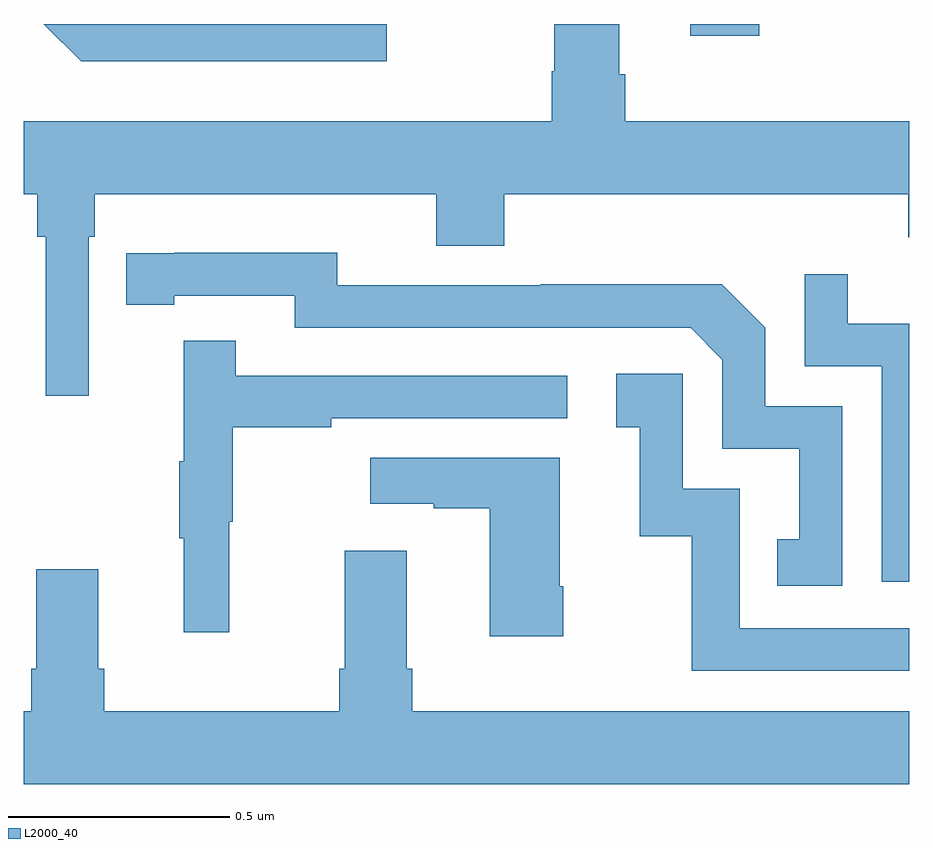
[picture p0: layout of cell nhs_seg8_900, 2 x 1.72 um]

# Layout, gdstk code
import gdstk
lib = gdstk.Library(unit=1e-6, precision=1e-09)
def R(c, l, rs):  # rectangles x0, y0, x1, y1
    for r in rs: c.add(gdstk.rectangle(r[:2], r[2:], *l))
def P(c, l, *ps):  # polygons
    for p in ps: c.add(gdstk.Polygon(p, *l))
L2000_40 = (2000, 40)

nhs_seg8_900 = lib.new_cell('nhs_seg8_900')
R(nhs_seg8_900, L2000_40, [(124.505,1100.874,124.661,1100.9)])
P(nhs_seg8_900, L2000_40, [(123,1100.516),(123.031,1100.516),(123.031,1100.42),(123.05,1100.42),(123.05,1100.061),(123.147,1100.061),(123.147,1100.42),(123.161,1100.42),(123.161,1100.516),(123.932,1100.516),(123.932,1100.399),(124.085,1100.399),(124.085,1100.516),(124.997,1100.516),(124.997,1100.418),(125,1100.418),(125,1100.68),(124.358,1100.68),(124.358,1100.786),(124.345,1100.786),(124.345,1100.9),(124.198,1100.9),(124.198,1100.793),(124.193,1100.793),(124.193,1100.68),(123,1100.68)],
  [(123.82,1100.9),(123.046,1100.9),(123.13,1100.816),(123.82,1100.816)],
  [(124.848,1100.037),(124.674,1100.037),(124.674,1100.214),(124.576,1100.312),(124.168,1100.312),(124.168,1100.31),(123.708,1100.31),(123.708,1100.383),(123.34,1100.383),(123.34,1100.382),(123.232,1100.382),(123.232,1100.266),(123.34,1100.266),(123.34,1100.286),(123.612,1100.286),(123.612,1100.214),(124.506,1100.214),(124.578,1100.142),(124.578,1099.941),(124.751,1099.941),(124.751,1099.737),(124.702,1099.737),(124.702,1099.632),(124.848,1099.632)],
  [(125,1100.223),(124.861,1100.223),(124.861,1100.335),(124.764,1100.335),(124.764,1100.127),(124.938,1100.127),(124.938,1099.641),(125,1099.641)],
  [(123.464,1099.776),(123.472,1099.776),(123.472,1099.99),(123.695,1099.99),(123.695,1100.01),(124.228,1100.01),(124.228,1100.106),(123.479,1100.106),(123.479,1100.185),(123.362,1100.185),(123.362,1099.913),(123.351,1099.913),(123.351,1099.739),(123.362,1099.739),(123.362,1099.527),(123.464,1099.527)],
  [(125,1099.536),(124.617,1099.536),(124.617,1099.851),(124.488,1099.851),(124.488,1100.11),(124.338,1100.11),(124.338,1099.989),(124.391,1099.989),(124.391,1099.743),(124.509,1099.743),(124.509,1099.44),(125,1099.44)],
  [(124.218,1099.63),(124.21,1099.63),(124.21,1099.921),(123.783,1099.921),(123.783,1099.817),(123.926,1099.817),(123.926,1099.807),(124.052,1099.807),(124.052,1099.518),(124.218,1099.518)],
  [(125,1099.348),(123.878,1099.348),(123.878,1099.444),(123.865,1099.444),(123.865,1099.711),(123.725,1099.711),(123.725,1099.444),(123.713,1099.444),(123.713,1099.348),(123.182,1099.348),(123.182,1099.444),(123.169,1099.444),(123.169,1099.669),(123.029,1099.669),(123.029,1099.444),(123.017,1099.444),(123.017,1099.348),(123,1099.348),(123,1099.184),(125,1099.184)])

lib.write_gds('nhs_seg8_900.gds')
